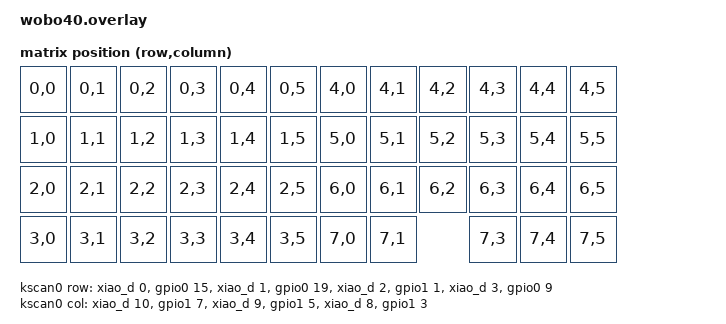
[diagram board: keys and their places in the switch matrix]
/*
 * WoBo40 - Seeed XIAO nRF52840 Plus 用シールド定義
 *
 * - 47キー + 1Uトラックボール
 * - キースキャン: 8行x6列マトリクス (行2段重ね方式, IC不要)
 *   物理4行x12列を左右2ブロックに分け、右ブロック(C7-C12)は
 *   行線を別の4本 (電気的な行4-7) にして列線を左ブロックと共用する。
 * - トラックボール: PAW3222 (SPI0, 3線SPI: MOSI/MISO同一ピン)
 *
 * ピンアサイン (回路図と一致 / PCB配線しやすいよう機能別・連番に整理):
 *
 *   XIAO Plus 上辺 (左→右): 行8本 + ADC + トラボ3本
 *     D0  (P0.02)        : 行0
 *     D11 (P0.15)        : 行1
 *     D1  (P0.03)        : 行2
 *     D12 (P0.19)        : 行3
 *     D2  (P0.28)        : 行4
 *     D13 (P1.01)        : 行5
 *     D3  (P0.29)        : 行6
 *     D14 (P0.09, NFC1)  : 行7
 *     D4  (P0.04, AIN2)  : 電池電圧監視 ADC ※任意, ファーム未使用
 *     D15 (P0.10, NFC2)  : PAW3222 nCS
 *     D5  (P0.05)        : PAW3222 SDIO
 *     D16 (P0.31)        : 使用禁止 (電池電圧測定用 AIN7_BAT)
 *     D6  (P1.11)        : PAW3222 SCLK
 *
 *   XIAO Plus 下辺 (左→右): 列6本 + MOTION
 *     D10 (P1.15)        : 列0
 *     D19 (P1.07)        : 列1
 *     D9  (P1.14)        : 列2
 *     D18 (P1.05)        : 列3
 *     D8  (P1.13)        : 列4
 *     D17 (P1.03)        : 列5
 *     D7  (P1.12)        : PAW3222 MOTION (割り込み)
 *
 * NFCピン(D14/D15)は低速信号のみに使用。SPIクロックには使わない。
 * D8-D10 は SPI2(xiao_spi), D14/D15(NFC) を GPIO として使うため
 * spi2 無効化 + CONFIG_NFCT_PINS_AS_GPIOS=y が必要 (wobo40.conf)。
 */

#include <dt-bindings/zmk/matrix_transform.h>
#include <physical_layouts.dtsi>
#include <input/processors.dtsi>

/ {
	chosen {
		zmk,kscan = &kscan0;
		zmk,physical-layout = &physical_layout0;
	};

	kscan0: kscan {
		compatible = "zmk,kscan-gpio-matrix";
		diode-direction = "col2row";
		wakeup-source;

		row-gpios
			= <&xiao_d 0 (GPIO_ACTIVE_HIGH | GPIO_PULL_DOWN)>	/* 行0: D0  */
			, <&gpio0 15 (GPIO_ACTIVE_HIGH | GPIO_PULL_DOWN)>	/* 行1: D11 */
			, <&xiao_d 1 (GPIO_ACTIVE_HIGH | GPIO_PULL_DOWN)>	/* 行2: D1  */
			, <&gpio0 19 (GPIO_ACTIVE_HIGH | GPIO_PULL_DOWN)>	/* 行3: D12 */
			, <&xiao_d 2 (GPIO_ACTIVE_HIGH | GPIO_PULL_DOWN)>	/* 行4: D2  */
			, <&gpio1 1 (GPIO_ACTIVE_HIGH | GPIO_PULL_DOWN)>	/* 行5: D13 */
			, <&xiao_d 3 (GPIO_ACTIVE_HIGH | GPIO_PULL_DOWN)>	/* 行6: D3  */
			, <&gpio0 9 (GPIO_ACTIVE_HIGH | GPIO_PULL_DOWN)>	/* 行7: D14 (NFC1) */
			;

		col-gpios
			= <&xiao_d 10 GPIO_ACTIVE_HIGH>	/* 列0: D10 */
			, <&gpio1 7 GPIO_ACTIVE_HIGH>	/* 列1: D19 */
			, <&xiao_d 9 GPIO_ACTIVE_HIGH>	/* 列2: D9  */
			, <&gpio1 5 GPIO_ACTIVE_HIGH>	/* 列3: D18 */
			, <&xiao_d 8 GPIO_ACTIVE_HIGH>	/* 列4: D8  */
			, <&gpio1 3 GPIO_ACTIVE_HIGH>	/* 列5: D17 */
			;
	};

	/*
	 * 行2段重ね: 物理(r,c)は c<=5 なら RC(r,c)、c>=6 なら RC(r+4, c-6)。
	 * トラックボール位置 (物理4行目の9列目 = RC(7,2)) は除外。
	 */
	default_transform: keymap_transform0 {
		compatible = "zmk,matrix-transform";
		columns = <6>;
		rows = <8>;
		map = <
RC(0,0) RC(0,1) RC(0,2) RC(0,3) RC(0,4) RC(0,5) RC(4,0) RC(4,1) RC(4,2) RC(4,3) RC(4,4) RC(4,5)
RC(1,0) RC(1,1) RC(1,2) RC(1,3) RC(1,4) RC(1,5) RC(5,0) RC(5,1) RC(5,2) RC(5,3) RC(5,4) RC(5,5)
RC(2,0) RC(2,1) RC(2,2) RC(2,3) RC(2,4) RC(2,5) RC(6,0) RC(6,1) RC(6,2) RC(6,3) RC(6,4) RC(6,5)
RC(3,0) RC(3,1) RC(3,2) RC(3,3) RC(3,4) RC(3,5) RC(7,0) RC(7,1)         RC(7,3) RC(7,4) RC(7,5)
		>;
	};

	physical_layout0: physical_layout_0 {
		compatible = "zmk,physical-layout";
		display-name = "Default";
		transform = <&default_transform>;
		kscan = <&kscan0>;
		keys  /*                    w   h    x    y  rot  rx  ry */
			= <&key_physical_attrs 100 100    0    0    0   0   0>
			, <&key_physical_attrs 100 100  100    0    0   0   0>
			, <&key_physical_attrs 100 100  200    0    0   0   0>
			, <&key_physical_attrs 100 100  300    0    0   0   0>
			, <&key_physical_attrs 100 100  400    0    0   0   0>
			, <&key_physical_attrs 100 100  500    0    0   0   0>
			, <&key_physical_attrs 100 100  600    0    0   0   0>
			, <&key_physical_attrs 100 100  700    0    0   0   0>
			, <&key_physical_attrs 100 100  800    0    0   0   0>
			, <&key_physical_attrs 100 100  900    0    0   0   0>
			, <&key_physical_attrs 100 100 1000    0    0   0   0>
			, <&key_physical_attrs 100 100 1100    0    0   0   0>
			, <&key_physical_attrs 100 100    0  100    0   0   0>
			, <&key_physical_attrs 100 100  100  100    0   0   0>
			, <&key_physical_attrs 100 100  200  100    0   0   0>
			, <&key_physical_attrs 100 100  300  100    0   0   0>
			, <&key_physical_attrs 100 100  400  100    0   0   0>
			, <&key_physical_attrs 100 100  500  100    0   0   0>
			, <&key_physical_attrs 100 100  600  100    0   0   0>
			, <&key_physical_attrs 100 100  700  100    0   0   0>
			, <&key_physical_attrs 100 100  800  100    0   0   0>
			, <&key_physical_attrs 100 100  900  100    0   0   0>
			, <&key_physical_attrs 100 100 1000  100    0   0   0>
			, <&key_physical_attrs 100 100 1100  100    0   0   0>
			, <&key_physical_attrs 100 100    0  200    0   0   0>
			, <&key_physical_attrs 100 100  100  200    0   0   0>
			, <&key_physical_attrs 100 100  200  200    0   0   0>
			, <&key_physical_attrs 100 100  300  200    0   0   0>
			, <&key_physical_attrs 100 100  400  200    0   0   0>
			, <&key_physical_attrs 100 100  500  200    0   0   0>
			, <&key_physical_attrs 100 100  600  200    0   0   0>
			, <&key_physical_attrs 100 100  700  200    0   0   0>
			, <&key_physical_attrs 100 100  800  200    0   0   0>
			, <&key_physical_attrs 100 100  900  200    0   0   0>
			, <&key_physical_attrs 100 100 1000  200    0   0   0>
			, <&key_physical_attrs 100 100 1100  200    0   0   0>
			, <&key_physical_attrs 100 100    0  300    0   0   0>
			, <&key_physical_attrs 100 100  100  300    0   0   0>
			, <&key_physical_attrs 100 100  200  300    0   0   0>
			, <&key_physical_attrs 100 100  300  300    0   0   0>
			, <&key_physical_attrs 100 100  400  300    0   0   0>
			, <&key_physical_attrs 100 100  500  300    0   0   0>
			, <&key_physical_attrs 100 100  600  300    0   0   0>
			, <&key_physical_attrs 100 100  700  300    0   0   0>
			/* 物理4行目9列目 (x=800) はトラックボール位置のためキーなし */
			, <&key_physical_attrs 100 100  900  300    0   0   0>
			, <&key_physical_attrs 100 100 1000  300    0   0   0>
			, <&key_physical_attrs 100 100 1100  300    0   0   0>
			;
	};

	/*
	 * トラックボールの入力処理 (PAW3222ドライバ自体には機能が無いためZMK標準processorで実装):
	 *  - 通常: ボールを動かすと Mouse(1) レイヤーを400ms自動有効化
	 *  - Fn(2) レイヤー押下中: XY移動をスクロールに変換
	 */
	trackball_listener {
		compatible = "zmk,input-listener";
		device = <&trackball>;
		input-processors = <&zip_temp_layer 1 400>;	/* 1 = Mouse レイヤー */

		scroller {
			layers = <2>;				/* 2 = Fn レイヤー */
			input-processors = <&zip_xy_to_scroll_mapper>;
		};
	};
};

/* D6/D7 は UART (TX/RX) に割り当てられているため無効化して GPIO として使う */
&uart0 {
	status = "disabled";
};

/* D4/D5 の I2C, D8-D10 の SPI2 (xiao_spi) も未使用のため無効化 */
&i2c0 {
	status = "disabled";
};

&spi2 {
	status = "disabled";
};

&pinctrl {
	/* SPI0: PAW3222 (3線SPI: MOSI/MISO を SDIO ピンに束ねる) */
	spi0_default: spi0_default {
		group1 {
			psels = <NRF_PSEL(SPIM_SCK, 1, 11)>,  /* D6 (SCLK) */
				<NRF_PSEL(SPIM_MOSI, 0, 5)>,      /* D5 (SDIO) */
				<NRF_PSEL(SPIM_MISO, 0, 5)>;      /* D5 (SDIO) */
		};
	};

	spi0_sleep: spi0_sleep {
		group1 {
			psels = <NRF_PSEL(SPIM_SCK, 1, 11)>,
				<NRF_PSEL(SPIM_MOSI, 0, 5)>,
				<NRF_PSEL(SPIM_MISO, 0, 5)>;
			low-power-enable;
		};
	};
};

&spi0 {
	compatible = "nordic,nrf-spim";
	status = "okay";
	pinctrl-0 = <&spi0_default>;
	pinctrl-1 = <&spi0_sleep>;
	pinctrl-names = "default", "sleep";
	cs-gpios = <&gpio0 10 GPIO_ACTIVE_LOW>;	/* D15 (NFC2) */

	trackball: trackball@0 {
		status = "okay";
		compatible = "pixart,paw3222";
		reg = <0>;
		spi-max-frequency = <2000000>;
		irq-gpios = <&xiao_d 7 GPIO_ACTIVE_LOW>;	/* MOTION (アクティブLow) */
		res-cpi = <800>;				/* 感度 608〜4826, 38刻み */
	};
};
